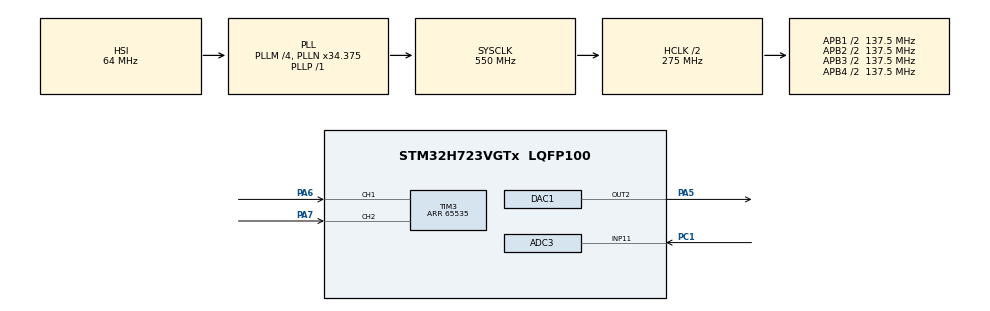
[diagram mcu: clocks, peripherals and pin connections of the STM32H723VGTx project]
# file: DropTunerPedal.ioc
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ADC3.Channel-1\#ChannelRegularConversion=ADC_CHANNEL_11
ADC3.ClockPrescalerADC3=ADC_CLOCK_SYNC_PCLK_DIV4
ADC3.ConversionDataManagement=ADC_CONVERSIONDATA_DMA_CIRCULAR
ADC3.DMAContinuousRequests=ENABLE
ADC3.ExternalTrigConv=ADC_EXTERNALTRIG_T6_TRGO
ADC3.NbrOfConversionFlag=1
ADC3.OffsetNumber-1\#ChannelRegularConversion=ADC_OFFSET_NONE
ADC3.OffsetSign-1\#ChannelRegularConversion=ADC3_OFFSET_SIGN_NEGATIVE
ADC3.Rank-1\#ChannelRegularConversion=1
ADC3.SamplingTime-1\#ChannelRegularConversion=ADC3_SAMPLETIME_2CYCLES_5
CORTEX_M7.CPU_DCache=Disabled
CORTEX_M7.CPU_ICache=Enabled
CORTEX_M7.default_mode_Activation=0
DAC1.DAC_Channel-DAC_OUT2=DAC_CHANNEL_2
DAC1.DAC_Trigger-DAC_OUT2=DAC_TRIGGER_T6_TRGO
Dma.ADC3.0.Direction=DMA_PERIPH_TO_MEMORY
Dma.ADC3.0.EventEnable=DISABLE
Dma.ADC3.0.FIFOMode=DMA_FIFOMODE_DISABLE
Dma.ADC3.0.Instance=DMA1_Stream0
Dma.ADC3.0.MemDataAlignment=DMA_MDATAALIGN_WORD
Dma.ADC3.0.MemInc=DMA_MINC_ENABLE
Dma.ADC3.0.Mode=DMA_CIRCULAR
Dma.ADC3.0.PeriphDataAlignment=DMA_PDATAALIGN_WORD
Dma.ADC3.0.PeriphInc=DMA_PINC_DISABLE
Dma.ADC3.0.Polarity=HAL_DMAMUX_REQ_GEN_RISING
Dma.ADC3.0.Priority=DMA_PRIORITY_VERY_HIGH
Dma.ADC3.0.RequestNumber=1
Dma.ADC3.0.SignalID=NONE
Dma.ADC3.0.SyncEnable=DISABLE
Dma.ADC3.0.SyncPolarity=HAL_DMAMUX_SYNC_NO_EVENT
Dma.ADC3.0.SyncRequestNumber=1
Dma.ADC3.0.SyncSignalID=NONE
Dma.DAC1_CH2.1.Direction=DMA_MEMORY_TO_PERIPH
Dma.DAC1_CH2.1.EventEnable=DISABLE
Dma.DAC1_CH2.1.FIFOMode=DMA_FIFOMODE_DISABLE
Dma.DAC1_CH2.1.Instance=DMA1_Stream1
Dma.DAC1_CH2.1.MemDataAlignment=DMA_MDATAALIGN_WORD
Dma.DAC1_CH2.1.MemInc=DMA_MINC_ENABLE
Dma.DAC1_CH2.1.Mode=DMA_CIRCULAR
Dma.DAC1_CH2.1.PeriphDataAlignment=DMA_PDATAALIGN_WORD
Dma.DAC1_CH2.1.PeriphInc=DMA_PINC_DISABLE
Dma.DAC1_CH2.1.Polarity=HAL_DMAMUX_REQ_GEN_RISING
Dma.DAC1_CH2.1.Priority=DMA_PRIORITY_VERY_HIGH
Dma.DAC1_CH2.1.RequestNumber=1
Dma.DAC1_CH2.1.SignalID=NONE
Dma.DAC1_CH2.1.SyncEnable=DISABLE
Dma.DAC1_CH2.1.SyncPolarity=HAL_DMAMUX_SYNC_NO_EVENT
Dma.DAC1_CH2.1.SyncRequestNumber=1
Dma.DAC1_CH2.1.SyncSignalID=NONE
Dma.Request0=ADC3
Dma.Request1=DAC1_CH2
Mcu.Family=STM32H7
Mcu.Name=STM32H723VGTx
Mcu.Package=LQFP100
NVIC.DMA1_Stream0_IRQn=true\:0\:0\:false\:false\:true\:false\:true\:true
NVIC.DMA1_Stream1_IRQn=true\:0\:0\:false\:false\:true\:false\:true\:true
NVIC.PriorityGroup=NVIC_PRIORITYGROUP_4
NVIC.TIM3_IRQn=true\:0\:0\:false\:false\:true\:true\:true\:true
PA13(JTMS/SWDIO).Mode=Serial_Wire
PA13(JTMS/SWDIO).Signal=DEBUG_JTMS-SWDIO
PA14(JTCK/SWCLK).Mode=Serial_Wire
PA14(JTCK/SWCLK).Signal=DEBUG_JTCK-SWCLK
PA5.Signal=COMP_DAC12_group
PA6.Signal=S_TIM3_CH1
PA7.Signal=S_TIM3_CH2
PC1.Signal=ADCx_INP11
ProjectManager.HeapSize=0x200
ProjectManager.StackSize=0x400
ProjectManager.TargetToolchain=STM32CubeIDE
RCC.ADCFreq_Value=48000000
RCC.APB1Freq_Value=137500000
RCC.APB2Freq_Value=137500000
RCC.APB3Freq_Value=137500000
RCC.APB4Freq_Value=137500000
RCC.CortexFreq_Value=550000000
RCC.D1PPRE=RCC_APB3_DIV2
RCC.D2PPRE1=RCC_APB1_DIV2
RCC.D2PPRE2=RCC_APB2_DIV2
RCC.D3PPRE=RCC_APB4_DIV2
RCC.DIVM1=4
RCC.DIVM2=4
RCC.DIVM3=4
RCC.DIVN1=34
RCC.DIVN2=12
RCC.DIVN3=12
RCC.DIVP1=1
RCC.DIVP2=4
RCC.HCLKFreq_Value=275000000
RCC.HPRE=RCC_HCLK_DIV2
RCC.PLL2FRACN=0
RCC.PLLFRACN=3072
RCC.SYSCLKFreq_VALUE=550000000
RCC.SYSCLKSource=RCC_SYSCLKSOURCE_PLLCLK
RCC.USBFreq_Value=275000000
SH.ADCx_INP11.0=ADC3_INP11,IN11-Single-Ended
SH.COMP_DAC12_group.0=DAC1_OUT2,DAC_OUT2
SH.S_TIM3_CH1.0=TIM3_CH1,Encoder_Interface
SH.S_TIM3_CH2.0=TIM3_CH2,Encoder_Interface
TIM3.EncoderMode=TIM_ENCODERMODE_TI12
TIM3.IC1Polarity=TIM_ICPOLARITY_FALLING
TIM3.IC2Polarity=TIM_ICPOLARITY_FALLING
TIM3.Period=65535
TIM6.AutoReloadPreload=TIM_AUTORELOAD_PRELOAD_ENABLE
TIM6.Period=6237
TIM6.TIM_MasterOutputTrigger=TIM_TRGO_UPDATE
VP_CORDIC_VS_CORDIC.Mode=CORDIC_Activate
VP_FMAC_VS_FMAC.Mode=FMAC_Activate
VP_MEMORYMAP_VS_MEMORYMAP.Mode=CurAppReg
VP_TIM6_VS_ClockSourceINT.Mode=Enable_Timer
VREF+.Mode=InternalMode
VREF+.Signal=VREFBUF_OUT
board=custom

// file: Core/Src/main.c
/* USER CODE BEGIN Header */
/**
  ******************************************************************************
  * @file           : main.c
  * @brief          : Main program body
  ******************************************************************************
  * @attention
  *
  * Copyright (c) 2024 STMicroelectronics.
  * All rights reserved.
  *
  * This software is licensed under terms that can be found in the LICENSE file
  * in the root directory of this software component.
  * If no LICENSE file comes with this software, it is provided AS-IS.
  *
  ******************************************************************************
  */
/* USER CODE END Header */
#include "main.h"

/* USER CODE BEGIN Includes */
#include <math.h>
#include <stdbool.h>
#include <string.h>
/* USER CODE END Includes */

/* USER CODE BEGIN PD */
#define N 3675
#define halfN N/2

#define BufSize N

int Buf[BufSize];

#define Overlap 2048

int WtrP;
float Rd_P;
float Shift;
float CrossFade;
float a0, a1, a2, b1, b2, hp_in_z1, hp_in_z2, hp_out_z1, hp_out_z2;

#define MAX_DOWN_SHIFT 12

uint32_t semitoneShift = 0;

/* USER CODE END PD */

ADC_HandleTypeDef hadc3;
DMA_HandleTypeDef hdma_adc3;

CORDIC_HandleTypeDef hcordic;

DAC_HandleTypeDef hdac1;
DMA_HandleTypeDef hdma_dac1_ch2;

FMAC_HandleTypeDef hfmac;

TIM_HandleTypeDef htim3;
TIM_HandleTypeDef htim6;

/* USER CODE BEGIN PV */
uint32_t adc_buffer[N];
uint32_t dac_buffer[N];
/* USER CODE END PV */

void SystemClock_Config(void);
static void MX_GPIO_Init(void);
static void MX_DMA_Init(void);
static void MX_ADC3_Init(void);
static void MX_DAC1_Init(void);
static void MX_TIM6_Init(void);
static void MX_TIM3_Init(void);
static void MX_CORDIC_Init(void);
static void MX_FMAC_Init(void);
/* USER CODE BEGIN PFP */

// Function to control LEDs based on semitone value
void ControlLEDs(uint16_t semitone)
{
    // Turn off all LEDs before setting new ones
    HAL_GPIO_WritePin(GPIOB, GPIO_PIN_15 | GPIO_PIN_14, GPIO_PIN_RESET); // LED8 and LED7
    HAL_GPIO_WritePin(GPIOD, GPIO_PIN_8 | GPIO_PIN_9 | GPIO_PIN_10 | GPIO_PIN_11 | GPIO_PIN_12 | GPIO_PIN_13, GPIO_PIN_RESET); // LED6-LED1

    switch (semitone)
    {
        case 7:
            HAL_GPIO_WritePin(GPIOD, GPIO_PIN_12, GPIO_PIN_SET); // Light up LED1 (semitone 0)
            break;
        case 6:
            HAL_GPIO_WritePin(GPIOD, GPIO_PIN_13, GPIO_PIN_SET); // Light up LED2 (semitone 1)
            break;
        case 5:
            HAL_GPIO_WritePin(GPIOD, GPIO_PIN_10, GPIO_PIN_SET); // Light up LED3 (semitone 2)
            break;
        case 4:
            HAL_GPIO_WritePin(GPIOD, GPIO_PIN_11, GPIO_PIN_SET); // Light up LED4 (semitone 3)
            break;
        case 3:
            HAL_GPIO_WritePin(GPIOD, GPIO_PIN_8, GPIO_PIN_SET);  // Light up LED5 (semitone 4)
            break;
        case 2:
            HAL_GPIO_WritePin(GPIOD, GPIO_PIN_9, GPIO_PIN_SET);  // Light up LED6 (semitone 5)
            break;
        case 1:
            HAL_GPIO_WritePin(GPIOB, GPIO_PIN_14, GPIO_PIN_SET); // Light up LED7 (semitone 6)
            break;
        case 0:
            HAL_GPIO_WritePin(GPIOB, GPIO_PIN_15, GPIO_PIN_SET); // Light up LED8 (semitone 7)
            break;
        case 8:
        case 9:
        case 10:
        case 11:
        case 12:
        	HAL_GPIO_WritePin(GPIOD, GPIO_PIN_12, GPIO_PIN_SET);   // Light up LED6 (for semitones 8-12)
            // Light up corresponding LED for semitone
            switch (semitone)
            {
                case 8:
                	HAL_GPIO_WritePin(GPIOB, GPIO_PIN_15, GPIO_PIN_SET); // Light up LED1 (semitone 8)
                    break;
                case 9:
                	HAL_GPIO_WritePin(GPIOB, GPIO_PIN_14, GPIO_PIN_SET); // Light up LED2 (semitone 9)
                    break;
                case 10:
                	HAL_GPIO_WritePin(GPIOD, GPIO_PIN_9, GPIO_PIN_SET); // Light up LED3 (semitone 10)
                    break;
                case 11:
                	HAL_GPIO_WritePin(GPIOD, GPIO_PIN_8, GPIO_PIN_SET); // Light up LED4 (semitone 11)
                    break;
                case 12:
                	HAL_GPIO_WritePin(GPIOD, GPIO_PIN_11, GPIO_PIN_SET);  // Light up LED5 (semitone 12)
                    break;
            }
            break;
        default:
            // No action needed for invalid semitone values
            break;
    }
}

/* USER CODE END PFP */

/* USER CODE BEGIN 0 */
#define MAX_ENCODER_VALUE 65535
#define DESIRED_MAX_VALUE 12
#define SCALING_FACTOR ((MAX_ENCODER_VALUE + 1) / (DESIRED_MAX_VALUE + 1)) // Scaling factor for the range

uint32_t counter = 0;
int16_t count = 0;   // Use signed 16-bit int to handle possible negative values
uint16_t position = 0;
int speed = 0;

void HAL_TIM_IC_CaptureCallback(TIM_HandleTypeDef *htim)
{
    counter = __HAL_TIM_GET_COUNTER(htim);  // Get the raw counter value

    count = (int16_t)counter;  // Cast to signed int to handle negative values

    // If count is negative, set it to zero
    if (count < 0)
    {
        count = 0;
    }

    // Scale down count to position, divide by 4 to adjust for sensitivity
    position = count / 4;

    // Clamp the position to be within 0 to 12
    if (position > 12)
    {
        position = 12;  // Ensure position does not exceed 12
    }
}
/* USER CODE END 0 */

int main(void)
{

  /* Enable the CPU Cache */

  /* Enable I-Cache---------------------------------------------------------*/
  SCB_EnableICache();

  /* MCU Configuration--------------------------------------------------------*/

  /* Reset of all peripherals, Initializes the Flash interface and the Systick. */
  HAL_Init();

  /* USER CODE BEGIN Init */
  GPIO_InitTypeDef GPIO_InitStruct = {0};

  // Enable clocks for GPIO ports B, D, and A
  __HAL_RCC_GPIOB_CLK_ENABLE();
  __HAL_RCC_GPIOD_CLK_ENABLE();
  __HAL_RCC_GPIOA_CLK_ENABLE();

  // Configure GPIO pin outputs for LED8 (PB15) and LED7 (PB14)
  GPIO_InitStruct.Pin = GPIO_PIN_15 | GPIO_PIN_14;
  GPIO_InitStruct.Mode = GPIO_MODE_OUTPUT_PP;   // Push-pull output
  GPIO_InitStruct.Pull = GPIO_NOPULL;           // No pull-up or pull-down resistors
  GPIO_InitStruct.Speed = GPIO_SPEED_FREQ_LOW;  // Set low frequency for LEDs
  HAL_GPIO_Init(GPIOB, &GPIO_InitStruct);       // Initialize GPIOB

  // Configure GPIO pin outputs for LED6 (PD8), LED5 (PD9), LED4 (PD10), LED3 (PD11), LED2 (PD12) , LED2 (PD13)
  GPIO_InitStruct.Pin = GPIO_PIN_8 | GPIO_PIN_9 | GPIO_PIN_10 | GPIO_PIN_11 | GPIO_PIN_12 | GPIO_PIN_13;
  HAL_GPIO_Init(GPIOD, &GPIO_InitStruct);
  /* USER CODE END Init */

  /* Configure the system clock */
  SystemClock_Config();

  /* USER CODE BEGIN SysInit */
  WtrP = 0;
  Rd_P = 0.0f;
  Shift = 0.0f;  // Pitch shift amount (adjust as needed)
  CrossFade = 1.0f;
  /* USER CODE END SysInit */

  /* Initialize all configured peripherals */
  MX_GPIO_Init();
  MX_DMA_Init();
  MX_ADC3_Init();
  MX_DAC1_Init();
  MX_TIM6_Init();
  MX_TIM3_Init();
  MX_CORDIC_Init();
  MX_FMAC_Init();
  /* USER CODE BEGIN 2 */
  HAL_ADC_Start_DMA(&hadc3, adc_buffer, N);
  HAL_DAC_Start_DMA(&hdac1, DAC_CHANNEL_2, dac_buffer, N, DAC_ALIGN_12B_R);
  HAL_TIM_Base_Start(&htim6);
  HAL_TIM_Encoder_Start_IT(&htim3, TIM_CHANNEL_ALL);
  /* USER CODE END 2 */

  /* Infinite loop */
  /* USER CODE BEGIN WHILE */
  while (1)
  {

	  semitoneShift = position;
	  ControlLEDs(semitoneShift);
    /* USER CODE END WHILE */

  }
}

void SystemClock_Config(void)
{
  RCC_OscInitTypeDef RCC_OscInitStruct = {0};
  RCC_ClkInitTypeDef RCC_ClkInitStruct = {0};

  /** Supply configuration update enable
  */
  HAL_PWREx_ConfigSupply(PWR_LDO_SUPPLY);

  /** Configure the main internal regulator output voltage
  */
  __HAL_PWR_VOLTAGESCALING_CONFIG(PWR_REGULATOR_VOLTAGE_SCALE0);

  while(!__HAL_PWR_GET_FLAG(PWR_FLAG_VOSRDY)) {}

  /** Initializes the RCC Oscillators according to the specified parameters
  * in the RCC_OscInitTypeDef structure.
  */
  RCC_OscInitStruct.OscillatorType = RCC_OSCILLATORTYPE_HSI;
  RCC_OscInitStruct.HSIState = RCC_HSI_DIV1;
  RCC_OscInitStruct.HSICalibrationValue = 64;
  RCC_OscInitStruct.PLL.PLLState = RCC_PLL_ON;
  RCC_OscInitStruct.PLL.PLLSource = RCC_PLLSOURCE_HSI;
  RCC_OscInitStruct.PLL.PLLM = 4;
  RCC_OscInitStruct.PLL.PLLN = 34;
  RCC_OscInitStruct.PLL.PLLP = 1;
  RCC_OscInitStruct.PLL.PLLQ = 2;
  RCC_OscInitStruct.PLL.PLLR = 2;
  RCC_OscInitStruct.PLL.PLLRGE = RCC_PLL1VCIRANGE_3;
  RCC_OscInitStruct.PLL.PLLVCOSEL = RCC_PLL1VCOWIDE;
  RCC_OscInitStruct.PLL.PLLFRACN = 3072;
  if (HAL_RCC_OscConfig(&RCC_OscInitStruct) != HAL_OK)
  {
    Error_Handler();
  }

  /** Initializes the CPU, AHB and APB buses clocks
  */
  RCC_ClkInitStruct.ClockType = RCC_CLOCKTYPE_HCLK|RCC_CLOCKTYPE_SYSCLK
                              |RCC_CLOCKTYPE_PCLK1|RCC_CLOCKTYPE_PCLK2
                              |RCC_CLOCKTYPE_D3PCLK1|RCC_CLOCKTYPE_D1PCLK1;
  RCC_ClkInitStruct.SYSCLKSource = RCC_SYSCLKSOURCE_PLLCLK;
  RCC_ClkInitStruct.SYSCLKDivider = RCC_SYSCLK_DIV1;
  RCC_ClkInitStruct.AHBCLKDivider = RCC_HCLK_DIV2;
  RCC_ClkInitStruct.APB3CLKDivider = RCC_APB3_DIV2;
  RCC_ClkInitStruct.APB1CLKDivider = RCC_APB1_DIV2;
  RCC_ClkInitStruct.APB2CLKDivider = RCC_APB2_DIV2;
  RCC_ClkInitStruct.APB4CLKDivider = RCC_APB4_DIV2;

  if (HAL_RCC_ClockConfig(&RCC_ClkInitStruct, FLASH_LATENCY_3) != HAL_OK)
  {
    Error_Handler();
  }
}

static void MX_ADC3_Init(void)
{

  ADC_ChannelConfTypeDef sConfig = {0};

  /** Common config
  */
  hadc3.Instance = ADC3;
  hadc3.Init.ClockPrescaler = ADC_CLOCK_SYNC_PCLK_DIV4;
  hadc3.Init.Resolution = ADC_RESOLUTION_12B;
  hadc3.Init.DataAlign = ADC3_DATAALIGN_RIGHT;
  hadc3.Init.ScanConvMode = ADC_SCAN_DISABLE;
  hadc3.Init.EOCSelection = ADC_EOC_SINGLE_CONV;
  hadc3.Init.LowPowerAutoWait = DISABLE;
  hadc3.Init.ContinuousConvMode = DISABLE;
  hadc3.Init.NbrOfConversion = 1;
  hadc3.Init.DiscontinuousConvMode = DISABLE;
  hadc3.Init.ExternalTrigConv = ADC_EXTERNALTRIG_T6_TRGO;
  hadc3.Init.ExternalTrigConvEdge = ADC_EXTERNALTRIGCONVEDGE_RISING;
  hadc3.Init.DMAContinuousRequests = ENABLE;
  hadc3.Init.SamplingMode = ADC_SAMPLING_MODE_NORMAL;
  hadc3.Init.ConversionDataManagement = ADC_CONVERSIONDATA_DMA_CIRCULAR;
  hadc3.Init.Overrun = ADC_OVR_DATA_PRESERVED;
  hadc3.Init.LeftBitShift = ADC_LEFTBITSHIFT_NONE;
  hadc3.Init.OversamplingMode = DISABLE;
  hadc3.Init.Oversampling.Ratio = ADC3_OVERSAMPLING_RATIO_2;
  if (HAL_ADC_Init(&hadc3) != HAL_OK)
  {
    Error_Handler();
  }

  /** Configure Regular Channel
  */
  sConfig.Channel = ADC_CHANNEL_11;
  sConfig.Rank = ADC_REGULAR_RANK_1;
  sConfig.SamplingTime = ADC3_SAMPLETIME_2CYCLES_5;
  sConfig.SingleDiff = ADC_SINGLE_ENDED;
  sConfig.OffsetNumber = ADC_OFFSET_NONE;
  sConfig.Offset = 0;
  sConfig.OffsetSign = ADC3_OFFSET_SIGN_NEGATIVE;
  if (HAL_ADC_ConfigChannel(&hadc3, &sConfig) != HAL_OK)
  {
    Error_Handler();
  }

}

static void MX_CORDIC_Init(void)
{

  hcordic.Instance = CORDIC;
  if (HAL_CORDIC_Init(&hcordic) != HAL_OK)
  {
    Error_Handler();
  }

}

static void MX_DAC1_Init(void)
{

  DAC_ChannelConfTypeDef sConfig = {0};

  /** DAC Initialization
  */
  hdac1.Instance = DAC1;
  if (HAL_DAC_Init(&hdac1) != HAL_OK)
  {
    Error_Handler();
  }

  /** DAC channel OUT2 config
  */
  sConfig.DAC_SampleAndHold = DAC_SAMPLEANDHOLD_DISABLE;
  sConfig.DAC_Trigger = DAC_TRIGGER_T6_TRGO;
  sConfig.DAC_OutputBuffer = DAC_OUTPUTBUFFER_ENABLE;
  sConfig.DAC_ConnectOnChipPeripheral = DAC_CHIPCONNECT_DISABLE;
  sConfig.DAC_UserTrimming = DAC_TRIMMING_FACTORY;
  if (HAL_DAC_ConfigChannel(&hdac1, &sConfig, DAC_CHANNEL_2) != HAL_OK)
  {
    Error_Handler();
  }

}

static void MX_FMAC_Init(void)
{

  hfmac.Instance = FMAC;
  if (HAL_FMAC_Init(&hfmac) != HAL_OK)
  {
    Error_Handler();
  }

}

static void MX_TIM3_Init(void)
{

  TIM_Encoder_InitTypeDef sConfig = {0};
  TIM_MasterConfigTypeDef sMasterConfig = {0};

  htim3.Instance = TIM3;
  htim3.Init.Prescaler = 0;
  htim3.Init.CounterMode = TIM_COUNTERMODE_UP;
  htim3.Init.Period = 65535;
  htim3.Init.ClockDivision = TIM_CLOCKDIVISION_DIV1;
  htim3.Init.AutoReloadPreload = TIM_AUTORELOAD_PRELOAD_DISABLE;
  sConfig.EncoderMode = TIM_ENCODERMODE_TI12;
  sConfig.IC1Polarity = TIM_ICPOLARITY_FALLING;
  sConfig.IC1Selection = TIM_ICSELECTION_DIRECTTI;
  sConfig.IC1Prescaler = TIM_ICPSC_DIV1;
  sConfig.IC1Filter = 0;
  sConfig.IC2Polarity = TIM_ICPOLARITY_FALLING;
  sConfig.IC2Selection = TIM_ICSELECTION_DIRECTTI;
  sConfig.IC2Prescaler = TIM_ICPSC_DIV1;
  sConfig.IC2Filter = 0;
  if (HAL_TIM_Encoder_Init(&htim3, &sConfig) != HAL_OK)
  {
    Error_Handler();
  }
  sMasterConfig.MasterOutputTrigger = TIM_TRGO_RESET;
  sMasterConfig.MasterSlaveMode = TIM_MASTERSLAVEMODE_DISABLE;
  if (HAL_TIMEx_MasterConfigSynchronization(&htim3, &sMasterConfig) != HAL_OK)
  {
    Error_Handler();
  }

}

static void MX_TIM6_Init(void)
{

  TIM_MasterConfigTypeDef sMasterConfig = {0};

  htim6.Instance = TIM6;
  htim6.Init.Prescaler = 0;
  htim6.Init.CounterMode = TIM_COUNTERMODE_UP;
  htim6.Init.Period = 6237;
  htim6.Init.AutoReloadPreload = TIM_AUTORELOAD_PRELOAD_ENABLE;
  if (HAL_TIM_Base_Init(&htim6) != HAL_OK)
  {
    Error_Handler();
  }
  sMasterConfig.MasterOutputTrigger = TIM_TRGO_UPDATE;
  sMasterConfig.MasterSlaveMode = TIM_MASTERSLAVEMODE_DISABLE;
  if (HAL_TIMEx_MasterConfigSynchronization(&htim6, &sMasterConfig) != HAL_OK)
  {
    Error_Handler();
  }

}

static void MX_DMA_Init(void)
{

  /* DMA controller clock enable */
  __HAL_RCC_DMA1_CLK_ENABLE();

  /* DMA interrupt init */
  /* DMA1_Stream0_IRQn interrupt configuration */
  HAL_NVIC_SetPriority(DMA1_Stream0_IRQn, 0, 0);
  HAL_NVIC_EnableIRQ(DMA1_Stream0_IRQn);
  /* DMA1_Stream1_IRQn interrupt configuration */
  HAL_NVIC_SetPriority(DMA1_Stream1_IRQn, 0, 0);
  HAL_NVIC_EnableIRQ(DMA1_Stream1_IRQn);

}

static void MX_GPIO_Init(void)
{

  /* GPIO Ports Clock Enable */
  __HAL_RCC_GPIOC_CLK_ENABLE();
  __HAL_RCC_GPIOA_CLK_ENABLE();

}

/* USER CODE BEGIN 4 */
// Pitch shifting function (downward only)

float pitchShiftRatios[13] = {
        1.0f,             // 0 semitone shift
        0.943874f,        // 1 semitone shift
        0.890899f,        // 2 semitone shift
        0.840896f,        // 3 semitone shift
        0.793701f,        // 4 semitone shift
        0.749154f,        // 5 semitone shift
        0.707107f,        // 6 semitone shift
        0.667420f,        // 7 semitone shift
        0.629961f,        // 8 semitone shift
        0.594604f,        // 9 semitone shift
        0.561231f,        // 10 semitone shift
        0.529732f,        // 11 semitone shift
        0.500000f         // 12 semitone shift
    };

/* USER CODE BEGIN 4 */
// Pitch shifting function (downward only)

// Cubic interpolation function
float cubicInterpolate(float y0, float y1, float y2, float y3, float mu) {
    float a0, a1, a2, a3, mu2;

    mu2 = mu * mu;
    a0 = y3 - y2 - y0 + y1;
    a1 = y0 - y1 - a0;
    a2 = y2 - y0;
    a3 = y1;

    return (a0 * mu * mu2 + a1 * mu2 + a2 * mu + a3);
}

// Sine-based smooth crossfade function
float sineCrossfade(float x) {
    return 0.5f * (1.0f - cosf(x * M_PI));  // Smoother transition using cosine
}

// IIR filter coefficients (adjust for the desired cutoff frequency)
float a1 = 0.8f;  // Feedback coefficient
float b0 = 0.2f;  // Feedforward coefficient

// Previous output sample for the IIR filter (initially set to 0)
float previousOutput = 0.0f;

uint32_t Do_PitchShift(uint32_t sample) {
    // Write the original sample to the ring buffer
    Buf[WtrP] = sample;

    // Ensure semitoneShift is within the valid range
    if (semitoneShift > MAX_DOWN_SHIFT) {
        semitoneShift = MAX_DOWN_SHIFT;
    }

    // Calculate the pitch shift ratio (downward shift only)
    float pitchShiftRatio = powf(2.0f, -(float)semitoneShift / 12.0f);

    // Update the read pointer based on the pitch shift ratio
    Rd_P += pitchShiftRatio;

    // Clamp the read pointer to prevent overflow
    if (Rd_P >= BufSize) Rd_P -= BufSize;

    // Compute integer read pointers (main phase and 180° phase)
    int RdPtr_Int = (int)Rd_P % BufSize;               // Main read pointer
    int RdPtr_Int2 = (RdPtr_Int + (BufSize / 2)) % BufSize;  // 180° phase pointer

    // Extract the fractional part of the read pointer for interpolation
    float frac = Rd_P - (float)RdPtr_Int;

    // Get the four samples needed for cubic interpolation
    int RdPtr_Int_M1 = (RdPtr_Int - 1 + BufSize) % BufSize;  // Previous sample (wrap around buffer)
    int RdPtr_Int_P1 = (RdPtr_Int + 1) % BufSize;            // Next sample
    int RdPtr_Int_P2 = (RdPtr_Int + 2) % BufSize;            // Next next sample

    // Cubic interpolation for the main phase
    float Rd0 = cubicInterpolate(
        (float)Buf[RdPtr_Int_M1],
        (float)Buf[RdPtr_Int],
        (float)Buf[RdPtr_Int_P1],
        (float)Buf[RdPtr_Int_P2],
        frac
    );

    // Repeat the same for the 180° phase shift (cross-phase)
    int RdPtr_Int2_M1 = (RdPtr_Int2 - 1 + BufSize) % BufSize;
    int RdPtr_Int2_P1 = (RdPtr_Int2 + 1) % BufSize;
    int RdPtr_Int2_P2 = (RdPtr_Int2 + 2) % BufSize;

    float Rd1 = cubicInterpolate(
        (float)Buf[RdPtr_Int2_M1],
        (float)Buf[RdPtr_Int2],
        (float)Buf[RdPtr_Int2_P1],
        (float)Buf[RdPtr_Int2_P2],
        frac
    );

    // Crossfade logic using overlap and sine-based crossfade
    if (Overlap >= (WtrP - RdPtr_Int) && (WtrP - RdPtr_Int) >= 0 && Shift != 1.0f) {
        int rel = WtrP - RdPtr_Int;
        CrossFade = sineCrossfade((float)rel / (float)Overlap);
    } else if (WtrP - RdPtr_Int == 0) {
        CrossFade = 0.0f;
    }

    if (Overlap >= (WtrP - RdPtr_Int2) && (WtrP - RdPtr_Int2) >= 0 && Shift != 1.0f) {
        int rel = WtrP - RdPtr_Int2;
        CrossFade = 1.0f - sineCrossfade((float)rel / (float)Overlap);
    } else if (WtrP - RdPtr_Int2 == 0) {
        CrossFade = 1.0f;
    }

    // Perform cross-fading and combine the two phase-shifted samples
    float combinedSample = Rd0 * CrossFade + Rd1 * (1.0f - CrossFade);

    // Apply IIR filter to smooth the output
    float filteredSample = b0 * combinedSample + a1 * previousOutput;
    previousOutput = filteredSample;  // Store the filtered output for the next iteration

    // Convert the filtered sample back to integer for output
    sample = (uint32_t)filteredSample;

    // Increment the write pointer and handle wrap-around
    WtrP++;
    if (WtrP == BufSize) WtrP = 0;

    return sample;
}

void HAL_ADC_ConvHalfCpltCallback(ADC_HandleTypeDef* hadc){
	for(int n = 0; n < halfN; n++)
	{
		dac_buffer[n] = Do_PitchShift(adc_buffer[n]);
	}
}

void HAL_ADC_ConvCpltCallback(ADC_HandleTypeDef* hadc){
	for(int n = halfN; n < N; n++)
	{
		dac_buffer[n] =  Do_PitchShift(adc_buffer[n]);
	}
}
/* USER CODE END 4 */

void Error_Handler(void)
{
  __disable_irq();
  while (1)
  {
  }
}
